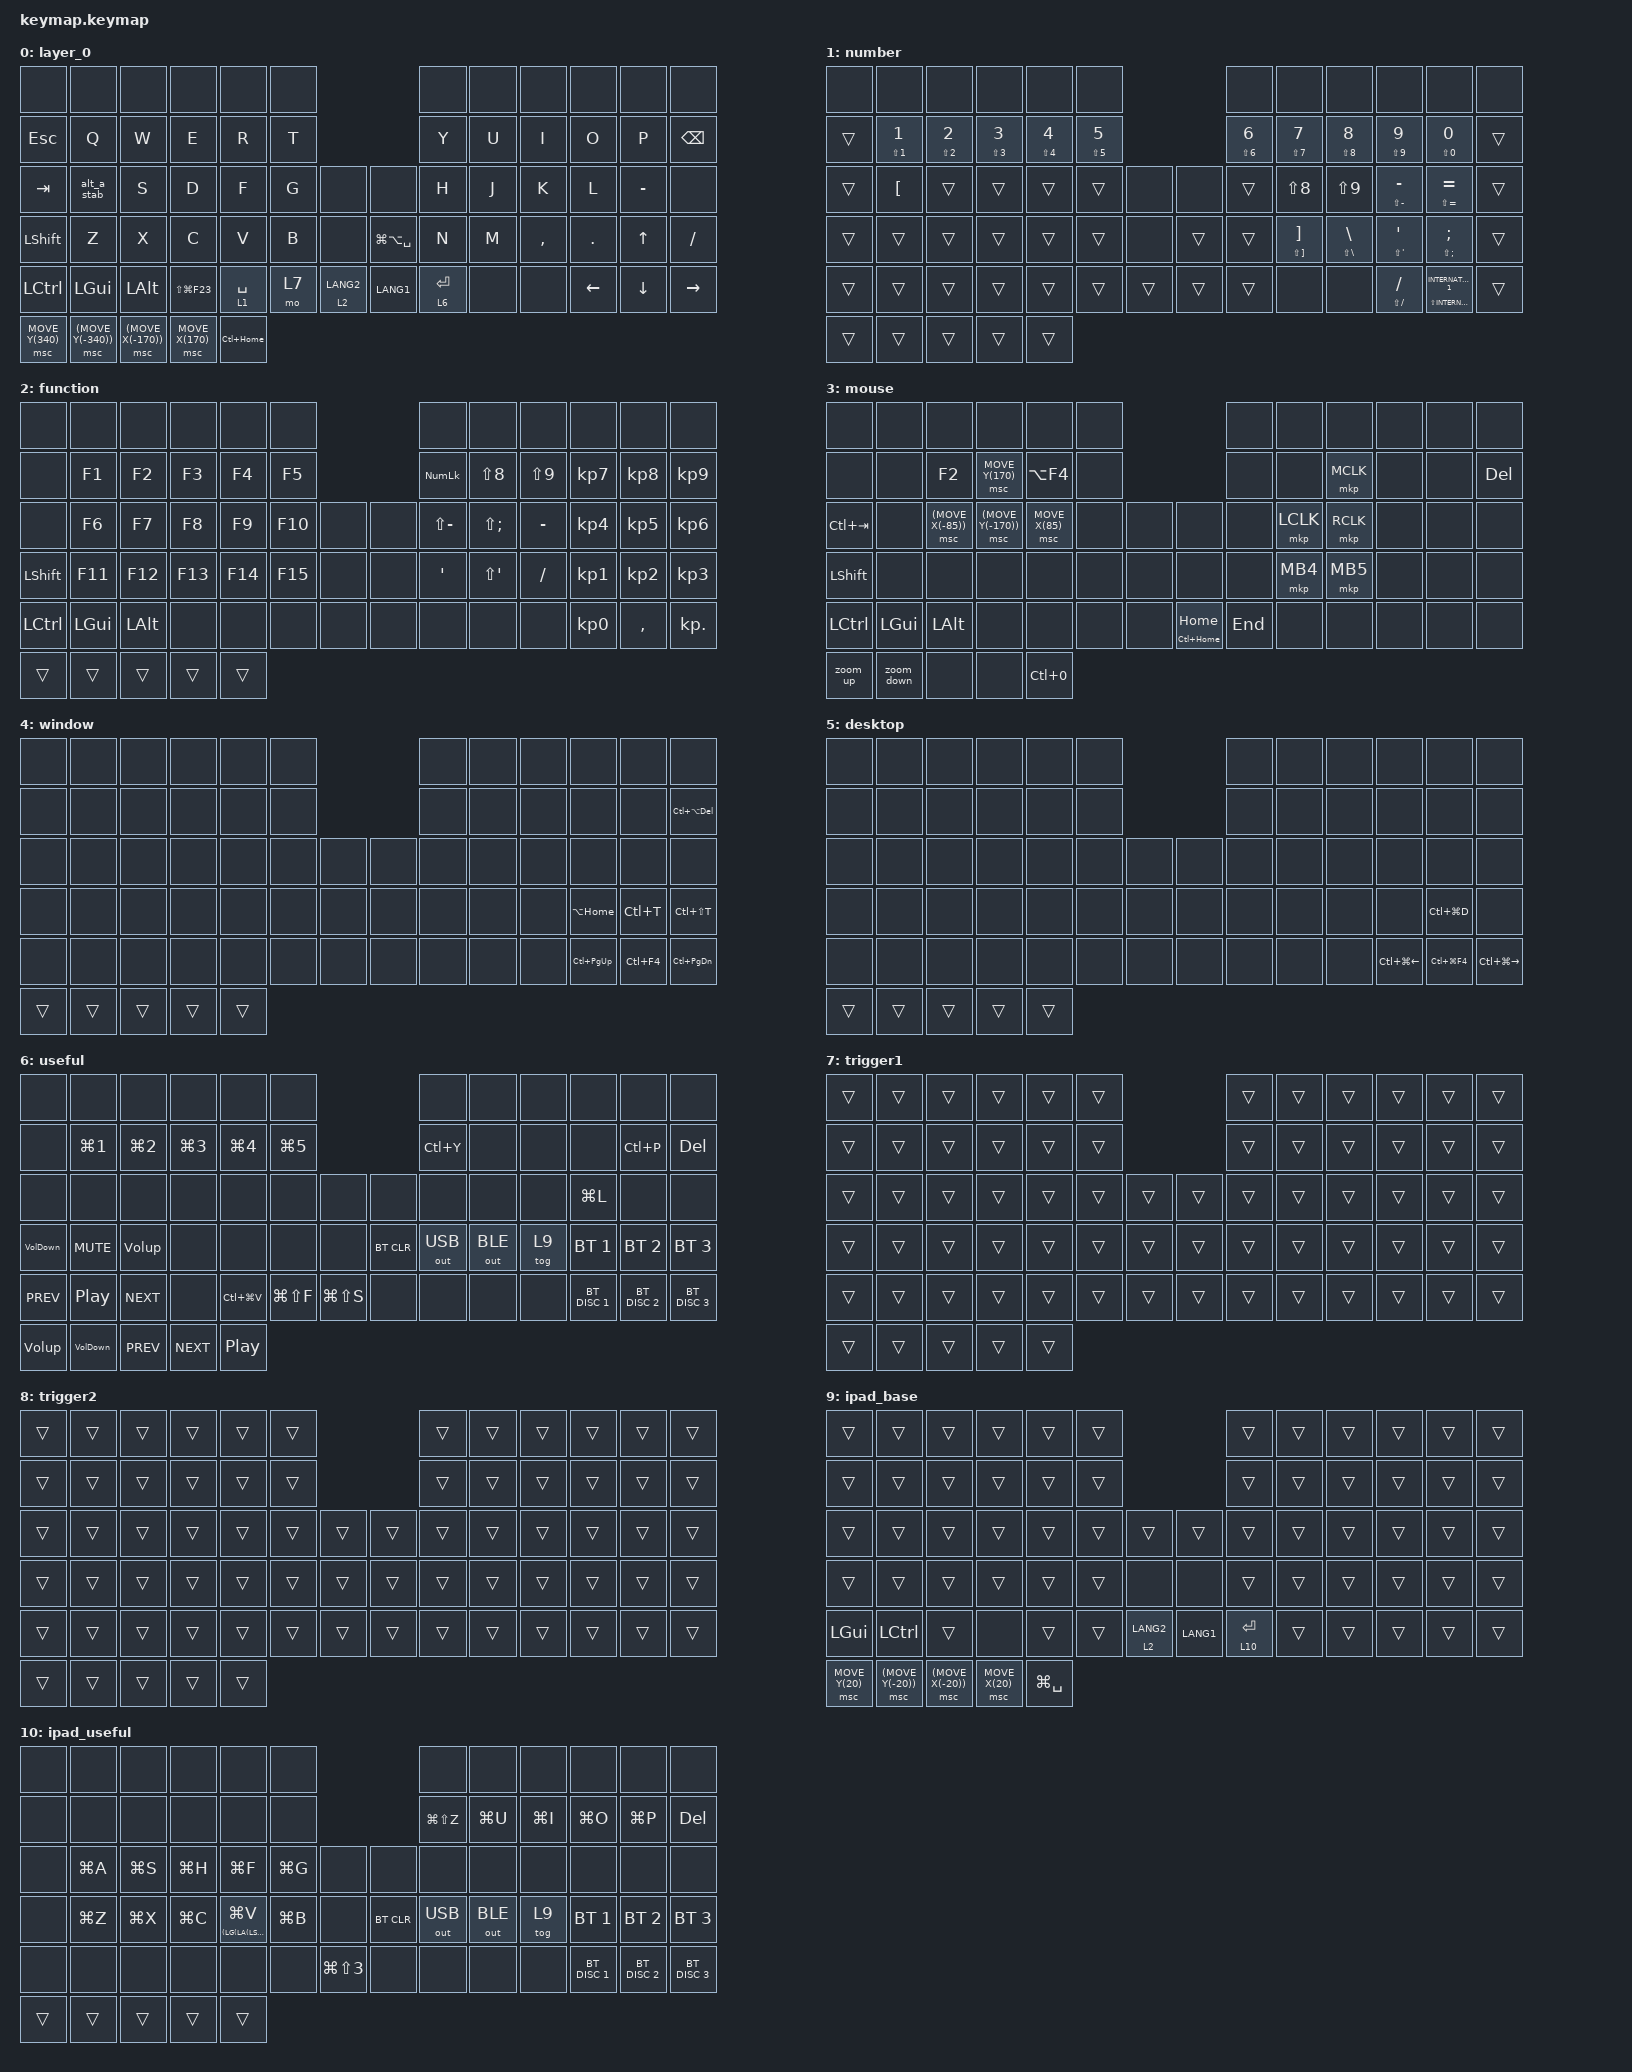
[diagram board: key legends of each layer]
#include <input/processors.dtsi>
#include <behaviors.dtsi>
#include <dt-bindings/zmk/bt.h>
#include <dt-bindings/zmk/keys.h>
#include <dt-bindings/zmk/outputs.h>
#include <dt-bindings/zmk/pointing.h>

/ {
    combos {
        compatible = "zmk,combos";

        MO4 {
            bindings = <&mo 4>;
            key-positions = <52 54>;
            timeout-ms = <200>;
            layers = <0>;
        };

        MO5 {
            bindings = <&mo 5>;
            key-positions = <52 53>;
            timeout-ms = <200>;
            layers = <0>;
        };

        sheetdel {
            bindings = <&HDS>;
            key-positions = <54 64>;
            timeout-ms = <50>;
            layers = <0>;
        };

        sheetadd {
            bindings = <&kp LS(F11)>;
            key-positions = <54 50>;
            timeout-ms = <50>;
            layers = <0>;
        };

        rowdel {
            bindings = <&kp LC(MINUS)>;
            key-positions = <54 35>;
            timeout-ms = <400>;
            layers = <0>;
        };

        rowadd {
            bindings = <&kp LS(LC(SEMI))>;
            key-positions = <54 36>;
            timeout-ms = <400>;
            layers = <0>;
        };

        selectdisplay {
            bindings = <&kp LA(SEMICOLON)>;
            key-positions = <54 49>;
            layers = <0>;
            timeout-ms = <400>;
        };

        // Windows専用(PowerToys等)。iPadモードでは layers=<0> のコンボは自動で無効になるが、
        // これは layers 指定なしなのでiPadモードでも発火する。不要なら layers = <0> を追加すること。

        dispreset {
            bindings = <&kp LS(LC(LG(B)))>;
            key-positions = <12 23>;
        };
    };

    macros {
        HDS: HDS {
            compatible = "zmk,behavior-macro";
            #binding-cells = <0>;
            bindings = <&kp LEFT_ALT &kp H &kp D &kp S>;
            label = "HDS";
        };

        Volup: VolUPH {
            compatible = "zmk,behavior-macro";
            #binding-cells = <0>;
            bindings = <&kp C_VOLUME_UP &kp C_VOLUME_UP &kp C_VOLUME_UP>;
            label = "VOLUPH";
        };

        VolDown: VolDown {
            compatible = "zmk,behavior-macro";
            #binding-cells = <0>;
            bindings = <&kp C_VOLUME_DOWN &kp C_VOLUME_DOWN &kp C_VOLUME_DOWN>;
            label = "VOLDOWN";
        };

        zoom_up: zoom_up {
            compatible = "zmk,behavior-macro";
            #binding-cells = <0>;
            bindings =
                <&macro_press>,
                <&kp LCTRL>,
                <&macro_press>,
                <&msc MOVE_Y(170)>,
                <&macro_pause_for_release>,
                <&macro_release>,
                <&msc MOVE_Y(170)>,
                <&macro_release>,
                <&kp LCTRL>;

            label = "ZOOM_UP";
        };

        zoom_down: zoom_down {
            compatible = "zmk,behavior-macro";
            #binding-cells = <0>;
            bindings =
                <&macro_press>,
                <&kp LCTRL>,
                <&macro_press>,
                <&msc (MOVE_Y(-170))>,
                <&macro_pause_for_release>,
                <&macro_release>,
                <&msc (MOVE_Y(-170))>,
                <&macro_release>,
                <&kp LCTRL>;

            label = "ZOOM_DOWN";
        };
    };

    behaviors {
        HoT: HoT {
            compatible = "zmk,behavior-hold-tap";
            label = "HOT";
            bindings = <&kp>, <&kp>;

            #binding-cells = <2>;
            tapping-term-ms = <200>;
            flavor = "tap-preferred";
        };

        alt_a_stab: alt_a_stab {
            compatible = "zmk,behavior-mod-morph";
            #binding-cells = <0>;
            bindings = <&kp A>, <&kp LS(TAB)>;

            mods = <(MOD_LALT)>;
            keep-mods = <(MOD_LALT)>;
        };
    };

    keymap {
        compatible = "zmk,keymap";

        // ===== layer 0: Windows ベース =====

        layer_0 {
            bindings = <
&none             &none                &none                &none             &none         &none                                  &none        &none  &none      &none     &none           &none
&kp ESCAPE        &kp Q                &kp W                &kp E             &kp R         &kp T                                  &kp Y        &kp U  &kp I      &kp O     &kp P           &kp BACKSPACE
&kp TAB           &alt_a_stab          &kp S                &kp D             &kp F         &kp G  &none        &none              &kp H        &kp J  &kp K      &kp L     &kp MINUS       &none
&kp LSHFT         &kp Z                &kp X                &kp C             &kp V         &kp B  &none        &kp LG(LA(SPACE))  &kp N        &kp M  &kp COMMA  &kp DOT   &kp UP_ARROW    &kp SLASH
&kp LCTRL         &kp LEFT_GUI         &kp LEFT_ALT         &kp LS(LG(F23))   &lt 1 SPACE   &mo 7  &lt 2 LANG2  &kp LANG1          &lt 6 ENTER  &none  &none      &kp LEFT  &kp DOWN_ARROW  &kp RIGHT
&msc MOVE_Y(340)  &msc (MOVE_Y(-340))  &msc (MOVE_X(-170))  &msc MOVE_X(170)  &kp LC(HOME)
            >;
        };

        number {
            bindings = <
&none   &none                       &none                       &none                       &none                       &none                                       &none                       &none                       &none                         &none                               &none                                     &none
&trans  &HoT LS(NUMBER_1) NUMBER_1  &HoT LS(NUMBER_2) NUMBER_2  &HoT LS(NUMBER_3) NUMBER_3  &HoT LS(NUMBER_4) NUMBER_4  &HoT LS(NUMBER_5) NUMBER_5                  &HoT LS(NUMBER_6) NUMBER_6  &HoT LS(NUMBER_7) NUMBER_7  &HoT LS(NUMBER_8) NUMBER_8    &HoT LS(NUMBER_9) NUMBER_9          &HoT LS(NUMBER_0) NUMBER_0                &trans
&trans  &kp LEFT_BRACKET            &trans                      &trans                      &trans                      &trans                      &none   &none   &trans                      &kp LS(NUMBER_8)            &kp LS(NUMBER_9)              &HoT LS(MINUS) MINUS                &HoT LS(EQUAL) EQUAL                      &trans
&trans  &trans                      &trans                      &trans                      &trans                      &trans                      &none   &trans  &trans                      &HoT LS(RBKT) RBKT          &HoT LS(BACKSLASH) BACKSLASH  &HoT LS(SINGLE_QUOTE) SINGLE_QUOTE  &HoT LS(SEMICOLON) SEMICOLON              &trans
&trans  &trans                      &trans                      &trans                      &trans                      &trans                      &trans  &trans  &trans                      &none                       &none                         &HoT LS(SLASH) SLASH                &HoT LS(INTERNATIONAL_1) INTERNATIONAL_1  &trans
&trans  &trans                      &trans                      &trans                      &trans
            >;
        };

        function {
            bindings = <
&none           &none         &none         &none    &none    &none                  &none             &none              &none             &none            &none            &none
&none           &kp F1        &kp F2        &kp F3   &kp F4   &kp F5                 &kp KP_NUMLOCK    &kp LS(N8)         &kp LS(NUMBER_9)  &kp KP_NUMBER_7  &kp KP_NUMBER_8  &kp KP_NUMBER_9
&none           &kp F6        &kp F7        &kp F8   &kp F9   &kp F10  &none  &none  &kp LS(MINUS)     &kp LS(SEMICOLON)  &kp MINUS         &kp KP_NUMBER_4  &kp KP_NUMBER_5  &kp KP_NUMBER_6
&kp LEFT_SHIFT  &kp F11       &kp F12       &kp F13  &kp F14  &kp F15  &none  &none  &kp SINGLE_QUOTE  &kp LS(APOS)       &kp SLASH         &kp KP_NUMBER_1  &kp KP_NUMBER_2  &kp KP_NUMBER_3
&kp LCTRL       &kp LEFT_GUI  &kp LEFT_ALT  &none    &none    &none    &none  &none  &none             &none              &none             &kp KP_NUMBER_0  &kp COMMA        &kp KP_DOT
&trans          &trans        &trans        &trans   &trans
            >;
        };

        mouse {
            bindings = <
&none           &none         &none               &none                &none             &none                             &none    &none      &none      &none  &none  &none
&none           &none         &kp F2              &msc MOVE_Y(170)     &kp LA(F4)        &none                             &none    &none      &mkp MCLK  &none  &none  &kp DELETE
&kp LC(TAB)     &none         &msc (MOVE_X(-85))  &msc (MOVE_Y(-170))  &msc MOVE_X(85)   &none  &none  &none               &none    &mkp LCLK  &mkp RCLK  &none  &none  &none
&kp LEFT_SHIFT  &none         &none               &none                &none             &none  &none  &none               &none    &mkp MB4   &mkp MB5   &none  &none  &none
&kp LCTRL       &kp LEFT_GUI  &kp LEFT_ALT        &none                &none             &none  &none  &HoT LC(HOME) HOME  &kp END  &none      &none      &none  &none  &none
&zoom_up        &zoom_down    &none               &none                &kp LC(NUMBER_0)
            >;
        };

        window {
            bindings = <
&none   &none   &none   &none   &none   &none                &none  &none  &none  &none            &none       &none
&none   &none   &none   &none   &none   &none                &none  &none  &none  &none            &none       &kp LC(LA(DELETE))
&none   &none   &none   &none   &none   &none  &none  &none  &none  &none  &none  &none            &none       &none
&none   &none   &none   &none   &none   &none  &none  &none  &none  &none  &none  &kp LA(HOME)     &kp LC(T)   &kp LC(LS(T))
&none   &none   &none   &none   &none   &none  &none  &none  &none  &none  &none  &kp LC(PAGE_UP)  &kp LC(F4)  &kp LC(PAGE_DOWN)
&trans  &trans  &trans  &trans  &trans
            >;
        };

        desktop {
            bindings = <
&none   &none   &none   &none   &none   &none                &none  &none  &none  &none             &none           &none
&none   &none   &none   &none   &none   &none                &none  &none  &none  &none             &none           &none
&none   &none   &none   &none   &none   &none  &none  &none  &none  &none  &none  &none             &none           &none
&none   &none   &none   &none   &none   &none  &none  &none  &none  &none  &none  &none             &kp LC(LG(D))   &none
&none   &none   &none   &none   &none   &none  &none  &none  &none  &none  &none  &kp LC(LG(LEFT))  &kp LC(LG(F4))  &kp LC(LG(RIGHT))
&trans  &trans  &trans  &trans  &trans
            >;
        };

        // ===== layer 6: Windows用 useful =====
        // 変更点: 位置48(元&none)を &tog 9 に。ここでiPadモードをON/OFFする。

        useful {
            bindings = <
&none       &none             &none             &none             &none             &none                                        &none         &none         &none   &none          &none          &none
&none       &kp LG(NUMBER_1)  &kp LG(NUMBER_2)  &kp LG(NUMBER_3)  &kp LG(NUMBER_4)  &kp LG(NUMBER_5)                             &kp LC(Y)     &none         &none   &none          &kp LC(P)      &kp DELETE
&none       &none             &none             &none             &none             &none             &none          &none       &none         &none         &none   &kp LG(L)      &none          &none
&VolDown    &kp C_MUTE        &Volup            &none             &none             &none             &none          &bt BT_CLR  &out OUT_USB  &out OUT_BLE  &tog 9  &bt BT_SEL 1   &bt BT_SEL 2   &bt BT_SEL 3
&kp C_PREV  &kp C_PLAY_PAUSE  &kp C_NEXT        &none             &kp LC(LG(V))     &kp LG(LS(F))     &kp LG(LS(S))  &none       &none         &none         &none   &bt BT_DISC 1  &bt BT_DISC 2  &bt BT_DISC 3
&Volup      &VolDown          &kp C_PREV        &kp C_NEXT        &kp C_PLAY_PAUSE
            >;
        };

        trigger1 {
            bindings = <
&trans  &trans  &trans  &trans  &trans  &trans                  &trans  &trans  &trans  &trans  &trans  &trans
&trans  &trans  &trans  &trans  &trans  &trans                  &trans  &trans  &trans  &trans  &trans  &trans
&trans  &trans  &trans  &trans  &trans  &trans  &trans  &trans  &trans  &trans  &trans  &trans  &trans  &trans
&trans  &trans  &trans  &trans  &trans  &trans  &trans  &trans  &trans  &trans  &trans  &trans  &trans  &trans
&trans  &trans  &trans  &trans  &trans  &trans  &trans  &trans  &trans  &trans  &trans  &trans  &trans  &trans
&trans  &trans  &trans  &trans  &trans
            >;
        };

        trigger2 {
            bindings = <
&trans  &trans  &trans  &trans  &trans  &trans                  &trans  &trans  &trans  &trans  &trans  &trans
&trans  &trans  &trans  &trans  &trans  &trans                  &trans  &trans  &trans  &trans  &trans  &trans
&trans  &trans  &trans  &trans  &trans  &trans  &trans  &trans  &trans  &trans  &trans  &trans  &trans  &trans
&trans  &trans  &trans  &trans  &trans  &trans  &trans  &trans  &trans  &trans  &trans  &trans  &trans  &trans
&trans  &trans  &trans  &trans  &trans  &trans  &trans  &trans  &trans  &trans  &trans  &trans  &trans  &trans
&trans  &trans  &trans  &trans  &trans
            >;
        };

        // ===== layer 9: iPad ベース(&tog 9 で有効化) =====
        // Windowsベースとの差分だけを書き、他は &trans で下のレイヤーに通す。

        ipad_base {
            bindings = <
&trans           &trans              &trans              &trans           &trans         &trans                          &trans        &trans  &trans  &trans  &trans  &trans
&trans           &trans              &trans              &trans           &trans         &trans                          &trans        &trans  &trans  &trans  &trans  &trans
&trans           &trans              &trans              &trans           &trans         &trans  &trans       &trans     &trans        &trans  &trans  &trans  &trans  &trans
&trans           &trans              &trans              &trans           &trans         &trans  &none        &none      &trans        &trans  &trans  &trans  &trans  &trans
&kp LEFT_GUI     &kp LCTRL           &trans              &none            &trans         &trans  &lt 2 LANG2  &kp LANG1  &lt 10 ENTER  &trans  &trans  &trans  &trans  &trans
&msc MOVE_Y(20)  &msc (MOVE_Y(-20))  &msc (MOVE_X(-20))  &msc MOVE_X(20)  &kp LG(SPACE)
            >;
        };

        // ===== layer 10: iPad用 useful(iPadモード中にENTER長押し) =====
        // Windows版からの変更: Ctrl→Cmd、Win専用キーは削除/置換、位置48は &tog 9(iPadモード解除)

        ipad_useful {
            bindings = <
&none   &none      &none      &none      &none                       &none                                        &none          &none         &none      &none          &none          &none
&none   &none      &none      &none      &none                       &none                                        &kp LG(LS(Z))  &kp LG(U)     &kp LG(I)  &kp LG(O)      &kp LG(P)      &kp DELETE
&none   &kp LG(A)  &kp LG(S)  &kp LG(H)  &kp LG(F)                   &kp LG(G)  &none                 &none       &none          &none         &none      &none          &none          &none
&none   &kp LG(Z)  &kp LG(X)  &kp LG(C)  &HoT (LG(LA(LS(V)))) LG(V)  &kp LG(B)  &none                 &bt BT_CLR  &out OUT_USB   &out OUT_BLE  &tog 9     &bt BT_SEL 1   &bt BT_SEL 2   &bt BT_SEL 3
&none   &none      &none      &none      &none                       &none      &kp LG(LS(NUMBER_3))  &none       &none          &none         &none      &bt BT_DISC 1  &bt BT_DISC 2  &bt BT_DISC 3
&trans  &trans     &trans     &trans     &trans
            >;
        };
    };

    conditional_layers {
        compatible = "zmk,conditional-layers";

        AML1 {
            if-layers = <7>;
            then-layer = <3>;
        };

        AML2 {
            if-layers = <8>;
            then-layer = <3>;
        };
    };
};

&pointing_listener { input-processors = <&zip_xy_transform (INPUT_TRANSFORM_X_INVERT | INPUT_TRANSFORM_Y_INVERT) &zip_temp_layer 8 175>; };

&zip_temp_layer {
    require-prior-idle-ms = <400>;
    excluded-positions = <14 15 16 20 23 26 27 28 33 34 38 47 48 52 53 54 59 60 66 67 70>;
};
